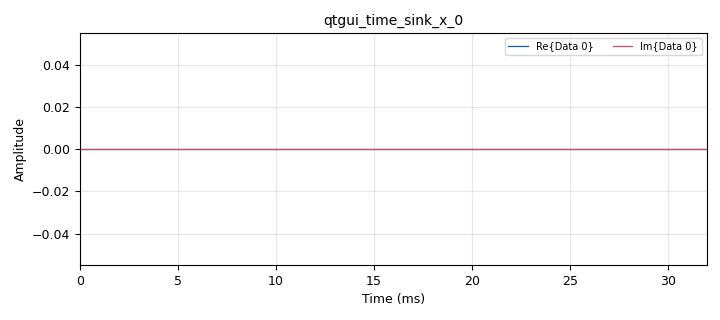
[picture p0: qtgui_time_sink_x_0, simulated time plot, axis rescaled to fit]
options:
  parameters:
    author: Lai Wei
    generate_options: qt_gui
    id: EnergyDetection
    output_language: python
    title: EnergyDetection
  states: {}

blocks:
- name: n_samples
  id: variable
  parameters:
    value: '256'
  states: {}
- name: samp_rate
  id: variable
  parameters:
    value: '32000'
  states: {}
- name: send_samples
  id: variable_qtgui_range
  parameters:
    start: '1024'
    step: '1'
    stop: '30000'
    value: '2048'
  states: {}
- name: threshold
  id: variable_qtgui_range
  parameters:
    start: '0'
    step: '0.1'
    stop: '2'
    value: '1'
  states: {}
- name: analog_const_source_x_0
  id: analog_const_source_x
  parameters:
    const: '0'
    type: complex
  states: {}
- name: analog_noise_source_x_0_0
  id: analog_noise_source_x
  parameters:
    amp: '1'
    noise_type: analog.GR_UNIFORM
    seed: '0'
    type: complex
  states: {}
- name: analog_sig_source_x_0
  id: analog_sig_source_x
  parameters:
    amp: '1'
    freq: '1000'
    offset: '0'
    phase: '0'
    samp_rate: samp_rate
    type: complex
    waveform: analog.GR_COS_WAVE
  states: {}
- name: blocks_throttle_0
  id: blocks_throttle
  parameters:
    samples_per_second: samp_rate
    type: complex
  states: {}
- name: epy_block_0
  id: epy_block
  parameters:
    _source_code: |
      """
      Embedded Python Blocks:

      Each time this file is saved, GRC will instantiate the first class it finds
      to get ports and parameters of your block. The arguments to __init__  will
      be the parameters. All of them are required to have default values!
      """

      import numpy as np
      from gnuradio import gr
      import pmt


      class blk(gr.sync_block):  # other base classes are basic_block, decim_block, interp_block
          """Embedded Python Block example - a simple multiply const"""

          def __init__(self):  # only default arguments here
              """arguments to this function show up as parameters in GRC"""
              gr.sync_block.__init__(
                  self,
                  name='Multiplexer',   # will show up in GRC
                  in_sig=[np.complex64,np.complex64],
                  out_sig=[np.complex64]
              )
              
              self.selectPortName = 'selectPort'
              self.message_port_register_in(pmt.intern(self.selectPortName))
              self.set_msg_handler(pmt.intern(self.selectPortName),self.handle_msg)
              
              self.selector = False

          def handle_msg(self, msg):
              self.selector = pmt.to_bool(msg)
              
          def work(self,input_items,output_items):
              if(self.selector):
                  output_items[0][:] = input_items[0]
              else:
                  output_items[0][:] = input_items[1]
              return len(output_items[0])
  states: {}
- name: epy_block_1
  id: epy_block
  parameters:
    _source_code: "\"\"\"\nEmbedded Python Blocks:\n\nEach time this file is saved, GRC will instantiate the first class it finds\nto get ports and parameters of your block. The arguments to __init__  will\nbe the parameters. All of them are required to have default values!\n\"\"\"\n\nimport numpy as np\nfrom gnuradio import gr\nimport pmt\n\nclass blk(gr.sync_block):  # other base classes are basic_block, decim_block, interp_block\n    \"\"\"Embedded Python Block example - a simple multiply const\"\"\"\n\n    def __init__(self, n_samples=128, threshold=1, send_samples=4096):  # only default arguments here\n        \"\"\"arguments to this function show up as parameters in GRC\"\"\"\n        gr.sync_block.__init__(\n            self,\n            name='Selector Control',   # will show up in GRC\n            in_sig=[np.complex64,np.complex64],\n            out_sig=[np.complex64]\n        )\n        # if an attribute with the same name as a parameter is found,\n        # a callback is registered (properties work, too).\n        self.n_samples = n_samples\n        self.threshold = threshold\n        self.send_samples = send_samples\n        \n        self.portName = 'messageOutput'\n        self.message_port_register_out(pmt.intern(self.portName))\n        self.lastMsg = False\n        self.counter = 0\n        \n\n    def work(self, input_items, output_items):\n        \"\"\"example: multiply with constant\"\"\"\n        print(self.counter,self.lastMsg)\n        if self.lastMsg:\n            in1 = input_items[1]\n            nin = len(in1)\n        \n            x = np.abs(in1)**2\n            i_samp = 0\n        \n            while i_samp + self.n_samples < nin:\n                z = x[i_samp : i_samp + self.n_samples].mean()\n                i_samp += self.n_samples\n                if(z > self.threshold):\n                    self.lastMsg = True\n                    PMT_msg = pmt.from_bool(True)\n                    self.message_port_pub(pmt.intern(self.portName), PMT_msg)\n                else:\n                    self.lastMsg = False\n                    PMT_msg = pmt.from_bool(False)\n                    self.message_port_pub(pmt.intern(self.portName), PMT_msg)\n\n        else:\n            self.counter = self.counter + len(output_items[0])\n            if (self.counter > self.send_samples):\n                self.lastMsg = True\n                PMT_msg = pmt.from_bool(True)\n                self.message_port_pub(pmt.intern(self.portName), PMT_msg)\n                self.counter = 0\n        \n        \n        #self.counter = self.counter + len(output_items[0])\n        \n        #if (self.counter > self.Num_Samples_To_Count):\n        #    PMT_msg = pmt.from_bool(self.state)\n        #    self.message_port_pub(pmt.intern(self.portName), PMT_msg)\n        #    self.state = not(self.state)\n        #    self.counter = 0\n        \n        output_items[0][:] = input_items[0]\n        return len(output_items[0])\n        \n        \n        \n        \n        \n"
    n_samples: n_samples
    send_samples: send_samples
    threshold: threshold
  states: {}
- name: qtgui_time_sink_x_0
  id: qtgui_time_sink_x
  parameters:
    size: '1024'
    srate: samp_rate
    type: complex
  states: {}
- name: virtual_sink_0
  id: virtual_sink
  parameters:
    stream_id: control
  states: {}
- name: virtual_source_0
  id: virtual_source
  parameters:
    stream_id: control
  states: {}

connections:
- [analog_const_source_x_0, '0', epy_block_0, '0']
- [analog_noise_source_x_0_0, '0', epy_block_1, '1']
- [analog_sig_source_x_0, '0', epy_block_0, '1']
- [blocks_throttle_0, '0', qtgui_time_sink_x_0, '0']
- [epy_block_0, '0', epy_block_1, '0']
- [epy_block_1, '0', blocks_throttle_0, '0']
- [epy_block_1, messageOutput, virtual_sink_0, '0']
- [virtual_source_0, '0', epy_block_0, selectPort]

metadata:
  file_format: 1
